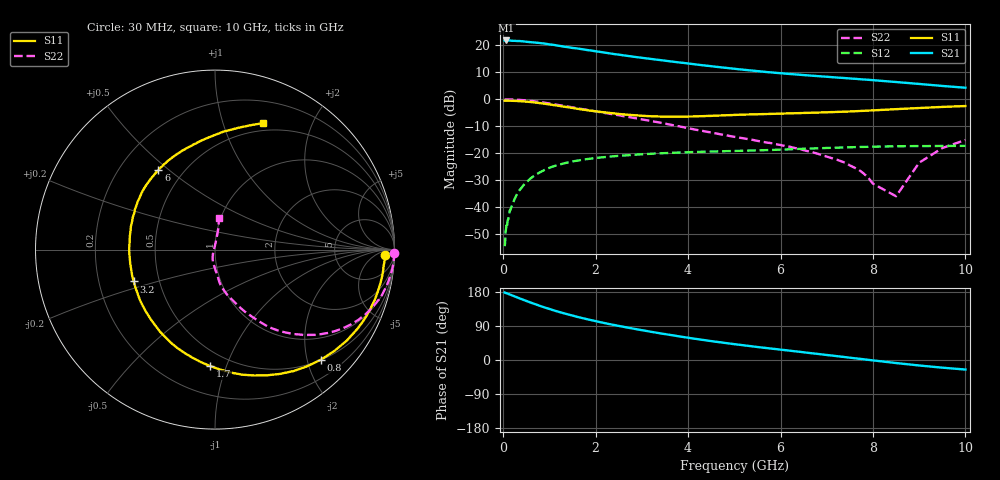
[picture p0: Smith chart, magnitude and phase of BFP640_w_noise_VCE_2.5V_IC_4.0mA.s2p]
! (c) 2013  Infineon Technologies AG, Munich
! Infineon Technologies  Discrete & RF Semiconductors
! BFP640
! VCE =  2.5 V,  IC =  4.0 mA
! Common Emitter S-Parameters:  Apr 2013
# GHz  S  MA  R  50
!  f  S11  S21  S12  S22
! GHz  MAG  ANG  MAG  ANG  MAG  ANG  MAG  ANG
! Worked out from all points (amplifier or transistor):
!   99 points, 30 MHz to 10 GHz, reference 50 ohm
!   highest |S21| = 21.8 dB at 70 MHz (marker M1)
!   |S21| within 3 dB of that: start of sweep to 1.615 GHz
!   unconditionally stable (mu >= 1): 5.297 GHz to end of sweep
!   at 350 MHz: K = 0.05, MSG = 27.7 dB, |S12| = -33.7 dB
!   at 3.5 GHz: K = 0.76, MSG = 17.1 dB, |S12| = -19.9 dB
!   at 10 GHz: K = 1.17, MAG = 8.3 dB, |S12| = -17.2 dB
!   lowest NFmin = 0.54 dB at 450 MHz
!   S11 on the Smith chart (normalised r, x): 30 MHz: 28, -15; 800 MHz: 0.51, -2.25; 1.7 GHz: 0.39, -0.88; 3.2 GHz: 0.36, -0.17; 6 GHz: 0.37, +0.46; 10 GHz: 0.42, +1.36
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0.03  0.9468 -1.7  12.31 178.0  0.0019 88.2  0.9984 -1.0
0.04  0.9466 -2.3  12.2 177.5  0.0021 100.5  0.9988 -1.3
0.07  0.9462 -4.1  12.36 176.3  0.0046 94.6  0.9995 -2.3
0.35  0.9275 -20.4  12.05 162.8  0.0206 80.3  0.9781 -11.9
0.6  0.892 -34.7  11.47 151.3  0.0348 71.9  0.9358 -19.9
0.8  0.8507 -46.2  11.06 142.6  0.0447 65.1  0.8904 -26.0
1.1  0.7811 -62.5  10.21 130.7  0.0579 56.3  0.8116 -33.9
1.4  0.7142 -77.5  9.26 120.4  0.0677 48.9  0.7345 -40.3
1.7  0.6497 -92.3  8.514 111.0  0.0753 42.8  0.6621 -45.5
2  0.6006 -106.4  7.791 102.6  0.0817 37.7  0.5993 -50.1
2.3  0.5601 -120.0  7.132 94.7  0.087 32.8  0.5424 -54.0
2.8  0.5109 -141.6  6.206 83.1  0.0934 26.8  0.4559 -59.2
3.2  0.4862 -158.6  5.611 74.4  0.098 22.7  0.3965 -63.3
3.4  0.4798 -167.0  5.347 70.3  0.1001 20.7  0.3693 -65.3
4.1  0.4819 167.7  4.515 56.9  0.1055 14.6  0.2812 -72.6
5.1  0.5181 141.4  3.612 40.3  0.1111 7.8  0.1953 -81.3
6  0.543 125.5  3.058 27.3  0.1171 3.1  0.1427 -84.8
6.7  0.5663 114.8  2.74 17.5  0.1229 -0.9  0.1042 -90.3
7.7  0.6079 98.4  2.372 3.3  0.1309 -7.7  0.049 -105.4
8.5  0.6585 86.0  2.096 -8.0  0.1351 -13.1  0.016 95.8
9  0.6914 79.1  1.931 -14.5  0.1363 -16.5  0.067 82.0
10  0.7523 69.4  1.642 -25.2  0.1375 -21.5  0.1766 83.0
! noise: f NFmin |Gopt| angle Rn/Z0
0.45  0.54  0.5  12  0.12
0.9  0.55  0.5  22  0.12
1.5  0.6  0.44  35  0.12
1.9  0.65  0.39  51  0.12
2.4  0.7  0.36  59  0.11
3.5  0.85  0.3  87  0.11
5.5  1.13  0.3  -163  0.12
10  1.9  0.64  -65  0.47
